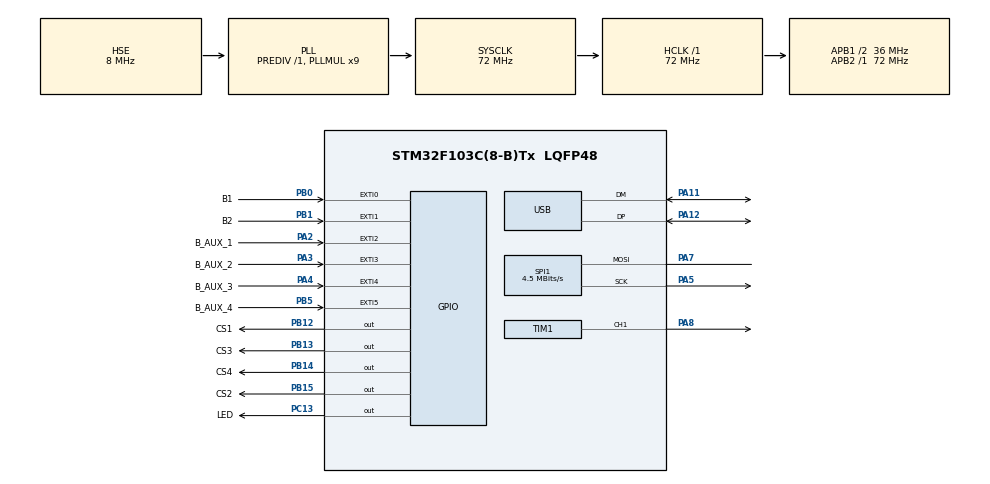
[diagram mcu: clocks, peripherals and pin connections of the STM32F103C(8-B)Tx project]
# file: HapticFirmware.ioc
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FREERTOS.Tasks01=defaultTask,0,128,StartDefaultTask,Default,NULL,Dynamic,NULL,NULL;commTask,0,256,StartCommTask,Default,NULL,Dynamic,NULL,NULL;sensorTask,0,128,StartSensorTask,Default,NULL,Dynamic,NULL,NULL;motorTask,0,128,StartMotorTask,Default,NULL,Dynamic,NULL,NULL
FREERTOS.configCHECK_FOR_STACK_OVERFLOW=2
FREERTOS.configUSE_MALLOC_FAILED_HOOK=1
Mcu.Family=STM32F1
Mcu.Name=STM32F103C(8-B)Tx
Mcu.Package=LQFP48
NVIC.EXTI0_IRQn=true\:0\:0\:false\:false\:true\:false\:true\:true
NVIC.EXTI1_IRQn=true\:0\:0\:false\:false\:true\:false\:true\:true
NVIC.EXTI2_IRQn=true\:0\:0\:false\:false\:true\:false\:true\:true
NVIC.EXTI3_IRQn=true\:0\:0\:false\:false\:true\:false\:true\:true
NVIC.EXTI4_IRQn=true\:0\:0\:false\:false\:true\:false\:true\:true
NVIC.EXTI9_5_IRQn=true\:0\:0\:false\:false\:true\:false\:true\:true
NVIC.PriorityGroup=NVIC_PRIORITYGROUP_4
NVIC.TIM4_IRQn=true\:0\:0\:false\:false\:true\:false\:false\:true
NVIC.TimeBase=TIM4_IRQn
NVIC.TimeBaseIP=TIM4
NVIC.USB_LP_CAN1_RX0_IRQn=true\:0\:0\:false\:false\:true\:false\:false\:true
PA11.Mode=Device
PA11.Signal=USB_DM
PA12.Mode=Device
PA12.Signal=USB_DP
PA13.Mode=Serial_Wire
PA13.Signal=SYS_JTMS-SWDIO
PA14.Mode=Serial_Wire
PA14.Signal=SYS_JTCK-SWCLK
PA2.GPIO_Label=B_AUX_1
PA2.GPIO_ModeDefaultEXTI=GPIO_MODE_IT_RISING_FALLING
PA2.GPIO_PuPd=GPIO_PULLUP
PA2.Signal=GPXTI2
PA3.GPIO_Label=B_AUX_2
PA3.GPIO_ModeDefaultEXTI=GPIO_MODE_IT_RISING_FALLING
PA3.GPIO_PuPd=GPIO_PULLUP
PA3.Signal=GPXTI3
PA4.GPIO_Label=B_AUX_3
PA4.GPIO_ModeDefaultEXTI=GPIO_MODE_IT_RISING_FALLING
PA4.GPIO_PuPd=GPIO_PULLUP
PA4.Signal=GPXTI4
PA5.Mode=Simplex_Bidirectional_Master
PA5.Signal=SPI1_SCK
PA7.Mode=Simplex_Bidirectional_Master
PA7.Signal=SPI1_MOSI
PA8.Signal=S_TIM1_CH1
PB0.GPIO_Label=B1
PB0.GPIO_ModeDefaultEXTI=GPIO_MODE_IT_RISING_FALLING
PB0.GPIO_PuPd=GPIO_PULLUP
PB0.Signal=GPXTI0
PB1.GPIO_Label=B2
PB1.GPIO_ModeDefaultEXTI=GPIO_MODE_IT_RISING_FALLING
PB1.GPIO_PuPd=GPIO_PULLUP
PB1.Signal=GPXTI1
PB12.GPIO_Label=CS1
PB12.Signal=GPIO_Output
PB13.GPIO_Label=CS3
PB13.Signal=GPIO_Output
PB14.GPIO_Label=CS4
PB14.Signal=GPIO_Output
PB15.GPIO_Label=CS2
PB15.Signal=GPIO_Output
PB5.GPIO_Label=B_AUX_4
PB5.GPIO_ModeDefaultEXTI=GPIO_MODE_IT_RISING_FALLING
PB5.GPIO_PuPd=GPIO_PULLUP
PB5.Signal=GPXTI5
PC13-TAMPER-RTC.GPIO_Label=LED
PC13-TAMPER-RTC.Signal=GPIO_Output
PD0-OSC_IN.Mode=HSE-External-Oscillator
PD0-OSC_IN.Signal=RCC_OSC_IN
PD1-OSC_OUT.Mode=HSE-External-Oscillator
PD1-OSC_OUT.Signal=RCC_OSC_OUT
ProjectManager.HeapSize=0x400
ProjectManager.StackSize=0x800
ProjectManager.TargetToolchain=STM32CubeIDE
RCC.AHBFreq_Value=72000000
RCC.APB1CLKDivider=RCC_HCLK_DIV2
RCC.APB1Freq_Value=36000000
RCC.APB1TimFreq_Value=72000000
RCC.APB2Freq_Value=72000000
RCC.APB2TimFreq_Value=72000000
RCC.HCLKFreq_Value=72000000
RCC.PLLMUL=RCC_PLL_MUL9
RCC.SYSCLKFreq_VALUE=72000000
RCC.SYSCLKSource=RCC_SYSCLKSOURCE_PLLCLK
RCC.USBFreq_Value=48000000
RCC.USBPrescaler=RCC_USBCLKSOURCE_PLL_DIV1_5
SH.S_TIM1_CH1.0=TIM1_CH1,PWM Generation1 CH1
SPI1.BaudRatePrescaler=SPI_BAUDRATEPRESCALER_16
SPI1.CLKPhase=SPI_PHASE_2EDGE
SPI1.CalculateBaudRate=4.5 MBits/s
SPI1.DataSize=SPI_DATASIZE_16BIT
SPI1.Direction=SPI_DIRECTION_1LINE
SPI1.Mode=SPI_MODE_MASTER
SPI1.VirtualType=VM_MASTER
TIM1.Channel-PWM\ Generation1\ CH1=TIM_CHANNEL_1
TIM1.Period=3600
TIM1.Prescaler=0
USB_DEVICE.APP_RX_DATA_SIZE=64
USB_DEVICE.APP_TX_DATA_SIZE=64
USB_DEVICE.CLASS_NAME_FS=CDC
USB_DEVICE.USBD_SELF_POWERED=0
USB_DEVICE.VirtualMode=Cdc
USB_DEVICE.VirtualModeFS=Cdc_FS
VP_FREERTOS_VS_CMSIS_V1.Mode=CMSIS_V1
VP_SYS_VS_tim4.Mode=TIM4
VP_USB_DEVICE_VS_USB_DEVICE_CDC_FS.Mode=CDC_FS
board=custom

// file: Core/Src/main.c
/* USER CODE BEGIN Header */
/**
  ******************************************************************************
  * @file           : main.c
  * @brief          : Main program body
  ******************************************************************************
  * @attention
  *
  * <h2><center>&copy; Copyright (c) 2020 STMicroelectronics.
  * All rights reserved.</center></h2>
  *
  * This software component is licensed by ST under BSD 3-Clause license,
  * the "License"; You may not use this file except in compliance with the
  * License. You may obtain a copy of the License at:
  *                        opensource.org/licenses/BSD-3-Clause
  *
  ******************************************************************************
  */
/* USER CODE END Header */
#include "main.h"
#include "cmsis_os.h"
#include "usb_device.h"

/* USER CODE BEGIN Includes */
#include "DTek_TLE5012B.h"
/* USER CODE END Includes */

SPI_HandleTypeDef hspi1;

TIM_HandleTypeDef htim1;

osThreadId defaultTaskHandle;
osThreadId commTaskHandle;
osThreadId sensorTaskHandle;
osThreadId motorTaskHandle;
/* USER CODE BEGIN PV */

// Sensor communication
errorTypes checkError = NO_ERROR;
uint16_t errorCounter = 0;

// Joint angles
static double angle1_raw = 0.0;
static double angle2_raw = 0.0;
static double angle3_raw = 0.0;
static double angle4_raw = 0.0;

static double angle1_temp = 0.0;
static double angle2_temp = 0.0;
static double angle3_temp = 0.0;
static double angle4_temp = 0.0;

static double angle1 = 0.0;
static double angle2 = 0.0;
static double angle3 = 0.0;
static double angle4 = 0.0;

static double offset1 = -62.7;
static double offset2 = 165.0;
static double offset3 = 10.0;
static double offset4 = -144.0;

// Feedback
static uint8_t feedback = 0;
static uint8_t feedback_temp = 0;
static uint8_t motorPattern = 0;

// Button status
static uint8_t b1Status = 0;
static uint8_t b2Status = 0;
static uint8_t b1_auxStatus = 0;
static uint8_t b2_auxStatus = 0;
static uint8_t b3_auxStatus = 0;
static uint8_t b4_auxStatus = 0;

// USB CDC communication
char txBuf[128];
char rxBuf[128];
uint8_t receiveState = 0;
static volatile uint32_t timeStamp = 0;
static volatile uint32_t timeOutGuard = 0;
static volatile uint32_t timeOutGuardMax = 0;
/* USER CODE END PV */

void SystemClock_Config(void);
static void MX_GPIO_Init(void);
static void MX_SPI1_Init(void);
static void MX_TIM1_Init(void);
void StartDefaultTask(void const * argument);
void StartCommTask(void const * argument);
void StartSensorTask(void const * argument);
void StartMotorTask(void const * argument);

/* USER CODE BEGIN 0 */
extern uint8_t CDC_Transmit_FS(uint8_t* Buf, uint16_t Len);
/* USER CODE END 0 */

int main(void)
{

  /* MCU Configuration--------------------------------------------------------*/

  /* Reset of all peripherals, Initializes the Flash interface and the Systick. */
  HAL_Init();

  /* Configure the system clock */
  SystemClock_Config();

  /* Initialize all configured peripherals */
  MX_GPIO_Init();
  MX_SPI1_Init();
  MX_TIM1_Init();
  /* USER CODE BEGIN 2 */
  HAL_TIM_PWM_Start(&htim1, TIM_CHANNEL_1);
  TIM1->CCR1 = 0*3600/100;
  /* USER CODE END 2 */

  /* Create the thread(s) */
  /* definition and creation of defaultTask */
  osThreadDef(defaultTask, StartDefaultTask, osPriorityNormal, 0, 128);
  defaultTaskHandle = osThreadCreate(osThread(defaultTask), NULL);

  /* definition and creation of commTask */
  osThreadDef(commTask, StartCommTask, osPriorityNormal, 0, 256);
  commTaskHandle = osThreadCreate(osThread(commTask), NULL);

  /* definition and creation of sensorTask */
  osThreadDef(sensorTask, StartSensorTask, osPriorityNormal, 0, 128);
  sensorTaskHandle = osThreadCreate(osThread(sensorTask), NULL);

  /* definition and creation of motorTask */
  osThreadDef(motorTask, StartMotorTask, osPriorityNormal, 0, 128);
  motorTaskHandle = osThreadCreate(osThread(motorTask), NULL);

  /* Start scheduler */
  osKernelStart();

  /* We should never get here as control is now taken by the scheduler */
  /* Infinite loop */
  while (1)
  {

  }
}

void SystemClock_Config(void)
{
  RCC_OscInitTypeDef RCC_OscInitStruct = {0};
  RCC_ClkInitTypeDef RCC_ClkInitStruct = {0};
  RCC_PeriphCLKInitTypeDef PeriphClkInit = {0};

  /** Initializes the RCC Oscillators according to the specified parameters
  * in the RCC_OscInitTypeDef structure.
  */
  RCC_OscInitStruct.OscillatorType = RCC_OSCILLATORTYPE_HSE;
  RCC_OscInitStruct.HSEState = RCC_HSE_ON;
  RCC_OscInitStruct.HSEPredivValue = RCC_HSE_PREDIV_DIV1;
  RCC_OscInitStruct.HSIState = RCC_HSI_ON;
  RCC_OscInitStruct.PLL.PLLState = RCC_PLL_ON;
  RCC_OscInitStruct.PLL.PLLSource = RCC_PLLSOURCE_HSE;
  RCC_OscInitStruct.PLL.PLLMUL = RCC_PLL_MUL9;
  if (HAL_RCC_OscConfig(&RCC_OscInitStruct) != HAL_OK)
  {
    Error_Handler();
  }
  /** Initializes the CPU, AHB and APB buses clocks
  */
  RCC_ClkInitStruct.ClockType = RCC_CLOCKTYPE_HCLK|RCC_CLOCKTYPE_SYSCLK
                              |RCC_CLOCKTYPE_PCLK1|RCC_CLOCKTYPE_PCLK2;
  RCC_ClkInitStruct.SYSCLKSource = RCC_SYSCLKSOURCE_PLLCLK;
  RCC_ClkInitStruct.AHBCLKDivider = RCC_SYSCLK_DIV1;
  RCC_ClkInitStruct.APB1CLKDivider = RCC_HCLK_DIV2;
  RCC_ClkInitStruct.APB2CLKDivider = RCC_HCLK_DIV1;

  if (HAL_RCC_ClockConfig(&RCC_ClkInitStruct, FLASH_LATENCY_2) != HAL_OK)
  {
    Error_Handler();
  }
  PeriphClkInit.PeriphClockSelection = RCC_PERIPHCLK_USB;
  PeriphClkInit.UsbClockSelection = RCC_USBCLKSOURCE_PLL_DIV1_5;
  if (HAL_RCCEx_PeriphCLKConfig(&PeriphClkInit) != HAL_OK)
  {
    Error_Handler();
  }
}

static void MX_SPI1_Init(void)
{

  /* SPI1 parameter configuration*/
  hspi1.Instance = SPI1;
  hspi1.Init.Mode = SPI_MODE_MASTER;
  hspi1.Init.Direction = SPI_DIRECTION_1LINE;
  hspi1.Init.DataSize = SPI_DATASIZE_16BIT;
  hspi1.Init.CLKPolarity = SPI_POLARITY_LOW;
  hspi1.Init.CLKPhase = SPI_PHASE_2EDGE;
  hspi1.Init.NSS = SPI_NSS_SOFT;
  hspi1.Init.BaudRatePrescaler = SPI_BAUDRATEPRESCALER_16;
  hspi1.Init.FirstBit = SPI_FIRSTBIT_MSB;
  hspi1.Init.TIMode = SPI_TIMODE_DISABLE;
  hspi1.Init.CRCCalculation = SPI_CRCCALCULATION_DISABLE;
  hspi1.Init.CRCPolynomial = 10;
  if (HAL_SPI_Init(&hspi1) != HAL_OK)
  {
    Error_Handler();
  }

}

static void MX_TIM1_Init(void)
{

  TIM_MasterConfigTypeDef sMasterConfig = {0};
  TIM_OC_InitTypeDef sConfigOC = {0};
  TIM_BreakDeadTimeConfigTypeDef sBreakDeadTimeConfig = {0};

  htim1.Instance = TIM1;
  htim1.Init.Prescaler = 0;
  htim1.Init.CounterMode = TIM_COUNTERMODE_UP;
  htim1.Init.Period = 3600;
  htim1.Init.ClockDivision = TIM_CLOCKDIVISION_DIV1;
  htim1.Init.RepetitionCounter = 0;
  htim1.Init.AutoReloadPreload = TIM_AUTORELOAD_PRELOAD_DISABLE;
  if (HAL_TIM_PWM_Init(&htim1) != HAL_OK)
  {
    Error_Handler();
  }
  sMasterConfig.MasterOutputTrigger = TIM_TRGO_RESET;
  sMasterConfig.MasterSlaveMode = TIM_MASTERSLAVEMODE_DISABLE;
  if (HAL_TIMEx_MasterConfigSynchronization(&htim1, &sMasterConfig) != HAL_OK)
  {
    Error_Handler();
  }
  sConfigOC.OCMode = TIM_OCMODE_PWM1;
  sConfigOC.Pulse = 0;
  sConfigOC.OCPolarity = TIM_OCPOLARITY_HIGH;
  sConfigOC.OCNPolarity = TIM_OCNPOLARITY_HIGH;
  sConfigOC.OCFastMode = TIM_OCFAST_DISABLE;
  sConfigOC.OCIdleState = TIM_OCIDLESTATE_RESET;
  sConfigOC.OCNIdleState = TIM_OCNIDLESTATE_RESET;
  if (HAL_TIM_PWM_ConfigChannel(&htim1, &sConfigOC, TIM_CHANNEL_1) != HAL_OK)
  {
    Error_Handler();
  }
  sBreakDeadTimeConfig.OffStateRunMode = TIM_OSSR_DISABLE;
  sBreakDeadTimeConfig.OffStateIDLEMode = TIM_OSSI_DISABLE;
  sBreakDeadTimeConfig.LockLevel = TIM_LOCKLEVEL_OFF;
  sBreakDeadTimeConfig.DeadTime = 0;
  sBreakDeadTimeConfig.BreakState = TIM_BREAK_DISABLE;
  sBreakDeadTimeConfig.BreakPolarity = TIM_BREAKPOLARITY_HIGH;
  sBreakDeadTimeConfig.AutomaticOutput = TIM_AUTOMATICOUTPUT_DISABLE;
  if (HAL_TIMEx_ConfigBreakDeadTime(&htim1, &sBreakDeadTimeConfig) != HAL_OK)
  {
    Error_Handler();
  }
  HAL_TIM_MspPostInit(&htim1);

}

static void MX_GPIO_Init(void)
{
  GPIO_InitTypeDef GPIO_InitStruct = {0};

  /* GPIO Ports Clock Enable */
  __HAL_RCC_GPIOC_CLK_ENABLE();
  __HAL_RCC_GPIOD_CLK_ENABLE();
  __HAL_RCC_GPIOA_CLK_ENABLE();
  __HAL_RCC_GPIOB_CLK_ENABLE();

  /*Configure GPIO pin Output Level */
  HAL_GPIO_WritePin(LED_GPIO_Port, LED_Pin, GPIO_PIN_RESET);

  /*Configure GPIO pin Output Level */
  HAL_GPIO_WritePin(GPIOB, CS1_Pin|CS3_Pin|CS4_Pin|CS2_Pin, GPIO_PIN_RESET);

  /*Configure GPIO pin : LED_Pin */
  GPIO_InitStruct.Pin = LED_Pin;
  GPIO_InitStruct.Mode = GPIO_MODE_OUTPUT_PP;
  GPIO_InitStruct.Pull = GPIO_NOPULL;
  GPIO_InitStruct.Speed = GPIO_SPEED_FREQ_LOW;
  HAL_GPIO_Init(LED_GPIO_Port, &GPIO_InitStruct);

  /*Configure GPIO pins : B_AUX_1_Pin B_AUX_2_Pin B_AUX_3_Pin */
  GPIO_InitStruct.Pin = B_AUX_1_Pin|B_AUX_2_Pin|B_AUX_3_Pin;
  GPIO_InitStruct.Mode = GPIO_MODE_IT_RISING_FALLING;
  GPIO_InitStruct.Pull = GPIO_PULLUP;
  HAL_GPIO_Init(GPIOA, &GPIO_InitStruct);

  /*Configure GPIO pins : B1_Pin B2_Pin B_AUX_4_Pin */
  GPIO_InitStruct.Pin = B1_Pin|B2_Pin|B_AUX_4_Pin;
  GPIO_InitStruct.Mode = GPIO_MODE_IT_RISING_FALLING;
  GPIO_InitStruct.Pull = GPIO_PULLUP;
  HAL_GPIO_Init(GPIOB, &GPIO_InitStruct);

  /*Configure GPIO pins : CS1_Pin CS3_Pin CS4_Pin CS2_Pin */
  GPIO_InitStruct.Pin = CS1_Pin|CS3_Pin|CS4_Pin|CS2_Pin;
  GPIO_InitStruct.Mode = GPIO_MODE_OUTPUT_PP;
  GPIO_InitStruct.Pull = GPIO_NOPULL;
  GPIO_InitStruct.Speed = GPIO_SPEED_FREQ_LOW;
  HAL_GPIO_Init(GPIOB, &GPIO_InitStruct);

  /* EXTI interrupt init*/
  HAL_NVIC_SetPriority(EXTI0_IRQn, 0, 0);
  HAL_NVIC_EnableIRQ(EXTI0_IRQn);

  HAL_NVIC_SetPriority(EXTI1_IRQn, 0, 0);
  HAL_NVIC_EnableIRQ(EXTI1_IRQn);

  HAL_NVIC_SetPriority(EXTI2_IRQn, 0, 0);
  HAL_NVIC_EnableIRQ(EXTI2_IRQn);

  HAL_NVIC_SetPriority(EXTI3_IRQn, 0, 0);
  HAL_NVIC_EnableIRQ(EXTI3_IRQn);

  HAL_NVIC_SetPriority(EXTI4_IRQn, 0, 0);
  HAL_NVIC_EnableIRQ(EXTI4_IRQn);

  HAL_NVIC_SetPriority(EXTI9_5_IRQn, 0, 0);
  HAL_NVIC_EnableIRQ(EXTI9_5_IRQn);

}

/* USER CODE BEGIN 4 */

/**
  * @brief EXTI handler
  * @param GPIO_Pin: Triggered pin
  * @retval none
  */
void HAL_GPIO_EXTI_Callback(uint16_t GPIO_Pin)
{
  switch ( GPIO_Pin ) {
  case GPIO_PIN_0:
    if (HAL_GPIO_ReadPin(GPIOB, GPIO_PIN_0)){
      b1Status = 0;
    }
    else {
      b1Status = 1;
    }
    break;
  case GPIO_PIN_1:
	if (HAL_GPIO_ReadPin(GPIOB, GPIO_PIN_1)){
	  b2Status = 0;
	}
	else {
	  b2Status = 1;
	}
	break;
  case GPIO_PIN_2:
	if (HAL_GPIO_ReadPin(GPIOA, GPIO_PIN_2)){
	  b1_auxStatus = 0;
	}
	else {
	  b1_auxStatus = 1;
	}
	break;
  case GPIO_PIN_3:
	if (HAL_GPIO_ReadPin(GPIOA, GPIO_PIN_3)){
	  b2_auxStatus = 0;
	}
	else {
	  b2_auxStatus = 1;
	}
	break;
  case GPIO_PIN_4:
	if (HAL_GPIO_ReadPin(GPIOA, GPIO_PIN_4)){
	  b3_auxStatus = 0;
	}
	else {
	  b3_auxStatus = 1;
	}
	break;
  case GPIO_PIN_5:
	if (HAL_GPIO_ReadPin(GPIOB, GPIO_PIN_5)){
	  b4_auxStatus = 0;
	}
	else {
	  b4_auxStatus = 1;
	}
	break;
  default:
	break;
  }
}

/**
  * @brief Count characters in char array
  * @param ptr: pointer to char array
  * @retval Number of characters in array
  */
uint16_t SizeofCharArray(char *ptr)
{
  /* Local variables */
  uint16_t len = 0;

  /* Search until end char */
  while (ptr[len] != '\0') {
    len++;
  }
  return len;
}

/* USER CODE END 4 */

void StartDefaultTask(void const * argument)
{
  /* init code for USB_DEVICE */
  MX_USB_DEVICE_Init();
  /* USER CODE BEGIN 5 */
  /* Infinite loop */
  for(;;)
  {
    osDelay(200);
    HAL_GPIO_TogglePin(GPIOC, GPIO_PIN_13);
  }
  /* USER CODE END 5 */
}

void StartCommTask(void const * argument)
{
  /* USER CODE BEGIN StartCommTask */
  uint16_t Len = 0;
  /* Infinite loop */
  for(;;)
  {
	if (receiveState == 1){
	  // Dummy command
	  if ((rxBuf[0] == 'K') && (rxBuf[1] == 'A') && (rxBuf[2] == '\r')){ // KA = Keep alive (response echo)
		__ASM("NOP");
	  }
	  // Clear error counter
	  else if ((rxBuf[0] == 'C') && (rxBuf[1] == 'E') && (rxBuf[2] == 'C') && (rxBuf[3] == '\r')){
		errorCounter = 0;
		sprintf(txBuf, "OK;%s\r\n", rxBuf);
		Len = SizeofCharArray((char*)txBuf);
		CDC_Transmit_FS((uint8_t*)txBuf, Len);
	  }
	  // Read error counter
	  else if ((rxBuf[0] == 'R') && (rxBuf[1] == 'E') && (rxBuf[2] == 'C') && (rxBuf[3] == '\r')){
		sprintf(txBuf, "OK;%s;%d\r\n", rxBuf, errorCounter);
		Len = SizeofCharArray((char*)txBuf);
		CDC_Transmit_FS((uint8_t*)txBuf, Len);
	  }
	  // Read joint offsets
	  else if ((rxBuf[0] == 'R') && (rxBuf[1] == 'O') && (rxBuf[3] == '\r')){
		if (rxBuf[2] == '1') {
			sprintf(txBuf, "OK;%s;%d\r\n", rxBuf, (int16_t)(offset1*100));
		}
		else if (rxBuf[2] == '2') {
			sprintf(txBuf, "OK;%s;%d\r\n", rxBuf, (int16_t)(offset2*100));
		}
		else if (rxBuf[2] == '3') {
			sprintf(txBuf, "OK;%s;%d\r\n", rxBuf, (int16_t)(offset3*100));
		}
		else if (rxBuf[2] == '4') {
			sprintf(txBuf, "OK;%s;%d\r\n", rxBuf, (int16_t)(offset4*100));
		}
		else {
			sprintf(txBuf, "ERR;%s\r\n", rxBuf);
		}
		Len = SizeofCharArray((char*)txBuf);
		CDC_Transmit_FS((uint8_t*)txBuf, Len);
	  }
	  // Set joint offsets
	  else if ((rxBuf[0] == 'S') && (rxBuf[1] == 'O') && (rxBuf[3] == '\r')){
		//ToDo: implement writing offsets
		sprintf(txBuf, "OK;%s;%s\r\n", rxBuf, "To be implemented...");
		Len = SizeofCharArray((char*)txBuf);
		CDC_Transmit_FS((uint8_t*)txBuf, Len);
	  }
	  // Read device status, returns joint angles and button status
	  else if ((rxBuf[0] == 'R') && (rxBuf[1] == 'D') && (rxBuf[2] == 'S') && (rxBuf[3] == '\r')){
		sprintf(txBuf, "OK;%s;%d;%d;%d;%d;%d;%d;%d;%d;%d;%d\r\n", rxBuf, (int16_t)(angle1*100), (int16_t)(angle2*100), (int16_t)(angle3*100), (int16_t)(angle4*100), b1Status, b2Status, b1_auxStatus, b2_auxStatus, b3_auxStatus, b4_auxStatus);
		Len = SizeofCharArray((char*)txBuf);
		CDC_Transmit_FS((uint8_t*)txBuf, Len);
	  }
	  // Read feedback status 0...100
	  else if ((rxBuf[0] == 'R') && (rxBuf[1] == 'F') && (rxBuf[2] == 'B') && (rxBuf[3] == '\r')){
		sprintf(txBuf, "OK;%s;%d\r\n", rxBuf, feedback);
		Len = SizeofCharArray((char*)txBuf);
		CDC_Transmit_FS((uint8_t*)txBuf, Len);
	  }
	  // Set feedback status 0...100
	  else if ((rxBuf[0] == 'S') && (rxBuf[1] == 'F') && (rxBuf[2] == 'B') && (rxBuf[6] == '\r')){
		feedback_temp = (int16_t)((rxBuf[3]  - '0')*100 + (rxBuf[4]  - '0')*10 + (rxBuf[5]  - '0')*1);
		if (feedback_temp > 100) feedback_temp = 100;
		feedback = feedback_temp;
		sprintf(txBuf, "OK;%s;%d\r\n", rxBuf, feedback);
		Len = SizeofCharArray((char*)txBuf);
		CDC_Transmit_FS((uint8_t*)txBuf, Len);
	  }
	  // Unrecognized command
      else{
        sprintf(txBuf, "ERR;%s\r\n", rxBuf);
        Len = SizeofCharArray((char*)txBuf);
        CDC_Transmit_FS((uint8_t*)txBuf, Len);
      }
      timeStamp = HAL_GetTick();
      receiveState = 0;
    }

    timeOutGuard = HAL_GetTick() - timeStamp;
    if (timeOutGuard > timeOutGuardMax){
      timeOutGuardMax = timeOutGuard;
    }

    osDelay(10);
  }
  /* USER CODE END StartCommTask */
}

void StartSensorTask(void const * argument)
{
  /* USER CODE BEGIN StartSensorTask */
  SPI_CS_Disable(1);
  SPI_CS_Disable(2);
  SPI_CS_Disable(3);
  SPI_CS_Disable(4);

  checkError = NO_ERROR;
  checkError = readBlockCRC(1);
  if (checkError != NO_ERROR) errorCounter++;
  HAL_Delay(1);

  checkError = NO_ERROR;
  checkError = readBlockCRC(2);
  if (checkError != NO_ERROR) errorCounter++;
  HAL_Delay(1);

  checkError = NO_ERROR;
  checkError = readBlockCRC(3);
  if (checkError != NO_ERROR) errorCounter++;
  HAL_Delay(1);

  checkError = NO_ERROR;
  checkError = readBlockCRC(4);
  if (checkError != NO_ERROR) errorCounter++;
  HAL_Delay(1);

  /* Infinite loop */
  for(;;)
  {
    osDelay(10);

    checkError = NO_ERROR;
    checkError = getAngleValue(&angle1_raw,1);
    if (checkError != NO_ERROR) errorCounter++;
    HAL_Delay(1);

    checkError = NO_ERROR;
    checkError = getAngleValue(&angle2_raw,2);
    if (checkError != NO_ERROR) errorCounter++;
    HAL_Delay(1);

    checkError = NO_ERROR;
    checkError = getAngleValue(&angle3_raw,3);
    if (checkError != NO_ERROR) errorCounter++;
    HAL_Delay(1);

    checkError = NO_ERROR;
    checkError = getAngleValue(&angle4_raw,4);
    if (checkError != NO_ERROR) errorCounter++;

    // processing raw angles
    // ToDo: math should be cleaned up though...
    angle1_temp = angle1_raw;
    if (angle1_temp >= 0){
    	angle1 = angle1_temp - offset1;
    }
    else{
    	angle1 = angle1_temp - offset1;
    }

    angle2_temp = -angle2_raw;
    if (angle2_temp >= 0){
    	angle2 = angle2_temp - 360.0 + offset2;
    }
    else{
    	angle2 = angle2_temp + offset2;
    }

    angle3_temp = -angle3_raw;
    if (angle3_temp >= 0){
    	angle3 = angle3_temp + offset3;
    }
    else{
    	angle3 = angle3_temp + offset3;
    }

    angle4_temp = -angle4_raw;
    if (angle4_temp >= 0){
    	angle4 = angle4_temp + offset4;
    }
    else{
    	angle4 = angle4_temp + offset4 + 360.0;
    }

  }
  /* USER CODE END StartSensorTask */
}

void StartMotorTask(void const * argument)
{
  /* USER CODE BEGIN StartMotorTask */
  /* Infinite loop */
  for(;;)
  {
    osDelay(10);
    if (motorPattern == 1){

    	for (int i = 0; i < 10; i++){
        	TIM1->CCR1 = 40*3600/100;
        	osDelay(500);
        	TIM1->CCR1 = 0*3600/100;
        	osDelay(500);
    	}

    	motorPattern = 0;
    }
    else {
    	TIM1->CCR1 = feedback*3600/100;
    }
  }
  /* USER CODE END StartMotorTask */
}

void HAL_TIM_PeriodElapsedCallback(TIM_HandleTypeDef *htim)
{
  if (htim->Instance == TIM4) {
    HAL_IncTick();
  }
}

void Error_Handler(void)
{
}

/************************ (C) COPYRIGHT STMicroelectronics *****END OF FILE****/
